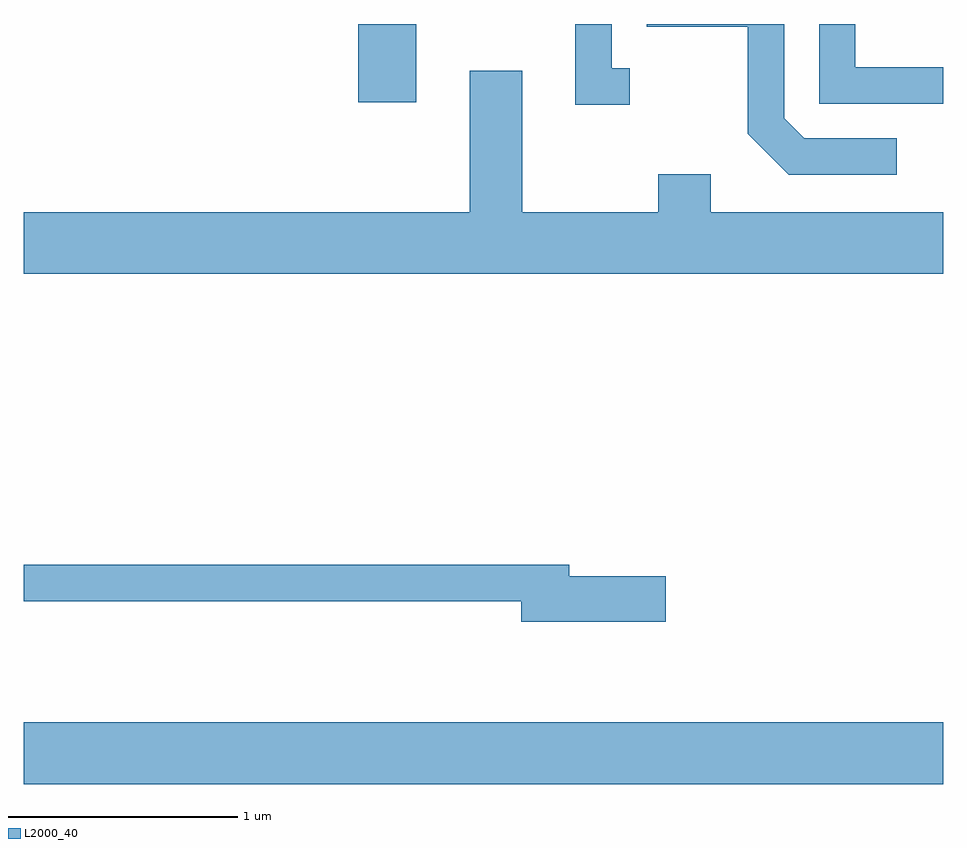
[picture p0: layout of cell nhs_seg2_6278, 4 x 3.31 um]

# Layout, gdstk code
import gdstk
lib = gdstk.Library(unit=1e-6, precision=1e-09)
def R(c, l, rs):  # rectangles x0, y0, x1, y1
    for r in rs: c.add(gdstk.rectangle(r[:2], r[2:], *l))
def P(c, l, *ps):  # polygons
    for p in ps: c.add(gdstk.Polygon(p, *l))
L2000_40 = (2000, 40)

nhs_seg2_6278 = lib.new_cell('nhs_seg2_6278')
R(nhs_seg2_6278, L2000_40, [(369.611,1090.496,373.611,1090.764), (371.066,1093.461,371.319,1093.802)])
P(nhs_seg2_6278, L2000_40, [(373.611,1093.614),(373.229,1093.614),(373.229,1093.802),(373.071,1093.802),(373.071,1093.456),(373.611,1093.456)],
  [(372.248,1093.609),(372.169,1093.609),(372.169,1093.802),(372.011,1093.802),(372.011,1093.451),(372.248,1093.451)],
  [(373.408,1093.304),(373.007,1093.304),(372.919,1093.392),(372.919,1093.802),(372.321,1093.802),(372.321,1093.791),(372.761,1093.791),(372.761,1093.324),(372.939,1093.146),(373.408,1093.146)],
  [(373.611,1092.984),(372.599,1092.984),(372.599,1093.149),(372.371,1093.149),(372.371,1092.984),(371.779,1092.984),(371.779,1093.599),(371.551,1093.599),(371.551,1092.984),(369.611,1092.984),(369.611,1092.716),(373.611,1092.716)],
  [(372.404,1091.399),(371.984,1091.399),(371.984,1091.449),(369.611,1091.449),(369.611,1091.291),(371.776,1091.291),(371.776,1091.201),(372.404,1091.201)])

lib.write_gds('nhs_seg2_6278.gds')
